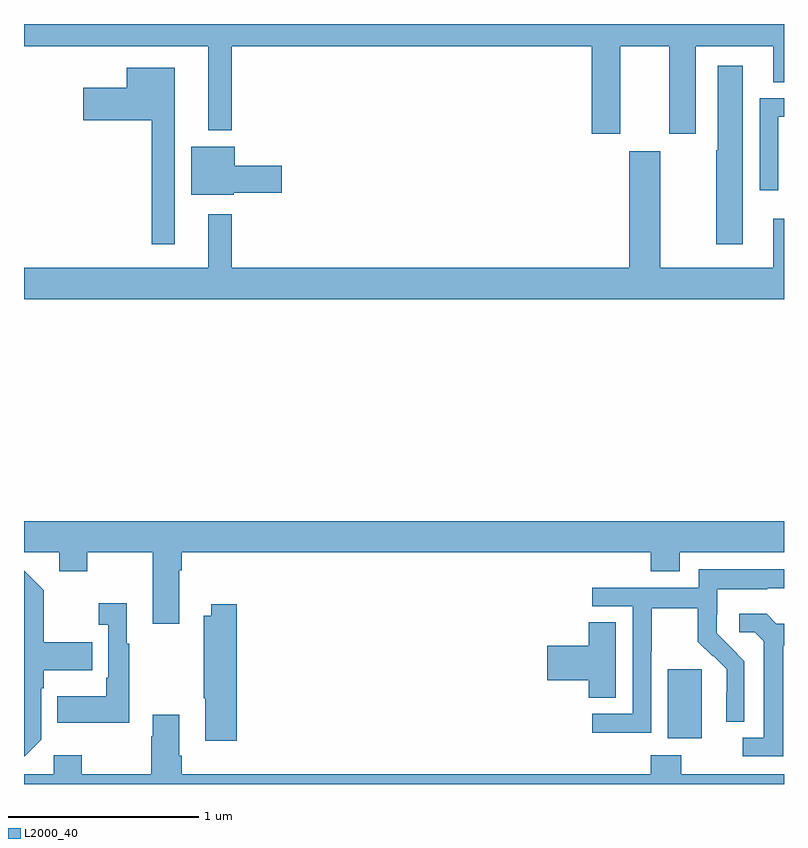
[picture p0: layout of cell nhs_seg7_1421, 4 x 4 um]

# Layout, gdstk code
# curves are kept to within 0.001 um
import gdstk
lib = gdstk.Library(unit=1e-6, precision=1e-09)
def R(c, l, rs):  # rectangles x0, y0, x1, y1
    for r in rs: c.add(gdstk.rectangle(r[:2], r[2:], *l))
def P(c, l, *ps):  # polygons
    for p in ps: c.add(gdstk.Polygon(p, *l))
L2000_40 = (2000, 40)

nhs_seg7_1421 = lib.new_cell('nhs_seg7_1421')
R(nhs_seg7_1421, L2000_40, [(210.389,1062.242,210.568,1062.603)])
P(nhs_seg7_1421, L2000_40, [(210.139,1065.884),(210.395,1065.884),(210.395,1065.423),(210.535,1065.423),(210.535,1065.884),(210.944,1065.884),(210.944,1065.694),(211,1065.694),(211,1066),(207,1066),(207,1065.884),(207.971,1065.884),(207.971,1065.44),(208.093,1065.44),(208.093,1065.884),(209.987,1065.884),(209.987,1065.423),(210.139,1065.423)],
  [(210.784,1065.781),(210.65,1065.781),(210.65,1065.335),(210.643,1065.335),(210.643,1064.841),(210.784,1064.841)],
  [(207.793,1065.769),(207.542,1065.769),(207.542,1065.664),(207.312,1065.664),(207.312,1065.494),(207.672,1065.494),(207.672,1064.841),(207.793,1064.841)],
  [(210.969,1065.513),(211,1065.513),(211,1065.609),(210.873,1065.609),(210.873,1065.126),(210.969,1065.126)],
  [(208.104,1065.112),(208.357,1065.112),(208.357,1065.254),(208.108,1065.254),(208.108,1065.355),(207.881,1065.355),(207.881,1065.101),(208.104,1065.101)],
  [(211,1064.974),(210.944,1064.974),(210.944,1064.716),(210.349,1064.716),(210.349,1065.331),(210.185,1065.331),(210.185,1064.716),(208.093,1064.716),(208.093,1064.998),(207.971,1064.998),(207.971,1064.716),(207,1064.716),(207,1064.552),(211,1064.552)],
  [(207.817,1063.124),(207.83,1063.124),(207.83,1063.22),(210.299,1063.22),(210.299,1063.121),(210.451,1063.121),(210.451,1063.22),(211,1063.22),(211,1063.384),(207,1063.384),(207,1063.22),(207.185,1063.22),(207.185,1063.121),(207.333,1063.121),(207.333,1063.22),(207.677,1063.22),(207.677,1062.843),(207.817,1062.843)],
  [(210.3,1062.7),(210.303,1062.7),(210.303,1062.924),(210.547,1062.924),(210.547,1062.749),(210.624,1062.672),(210.627,1062.675),(210.698,1062.605),(210.698,1062.482),(210.696,1062.482),(210.696,1062.328),(210.792,1062.328),(210.792,1062.646),(210.646,1062.794),(210.646,1062.891),(210.648,1062.891),(210.648,1063.025),(210.911,1063.025),(210.911,1063.029),(211,1063.029),(211,1063.129),(210.552,1063.129),(210.552,1063.032),(209.991,1063.032),(209.991,1062.936),(210.204,1062.936),(210.204,1062.369),(209.991,1062.369),(209.991,1062.271),(210.3,1062.271)],
  [(207.09,1062.234),(207.09,1062.503),(207.103,1062.503),(207.103,1062.599),(207.359,1062.599),(207.359,1062.747),(207.103,1062.747),(207.103,1063.019),(207,1063.122),(207,1062.147),(207.003,1062.147)],
  [(207.553,1062.739),(207.541,1062.739),(207.541,1062.952),(207.393,1062.952),(207.393,1062.839),(207.444,1062.839),(207.444,1062.559),(207.432,1062.559),(207.432,1062.463),(207.175,1062.463),(207.175,1062.323),(207.553,1062.323)],
  [(208.121,1062.946),(207.986,1062.946),(207.986,1062.886),(207.946,1062.886),(207.946,1062.451),(207.953,1062.451),(207.953,1062.228),(208.121,1062.228)],
  [(210.997,1062.728),(211,1062.728),(211,1062.843),(210.96,1062.843),(210.908,1062.895),(210.765,1062.895),(210.765,1062.798),(210.846,1062.798),(210.893,1062.751),(210.893,1062.243),(210.783,1062.243),(210.783,1062.147),(210.997,1062.147)],
  [(210.115,1062.851),(209.972,1062.851),(209.972,1062.728),(209.754,1062.728),(209.754,1062.545),(209.972,1062.545),(209.972,1062.454),(210.115,1062.454)],
  [(211,1062.052),(210.459,1062.052),(210.459,1062.151),(210.299,1062.151),(210.299,1062.052),(207.83,1062.052),(207.83,1062.148),(207.817,1062.148),(207.817,1062.364),(207.677,1062.364),(207.677,1062.251),(207.67,1062.251),(207.67,1062.052),(207.303,1062.052),(207.303,1062.151),(207.156,1062.151),(207.156,1062.052),(207,1062.052),(207,1062),(211,1062)])

lib.write_gds('nhs_seg7_1421.gds')
